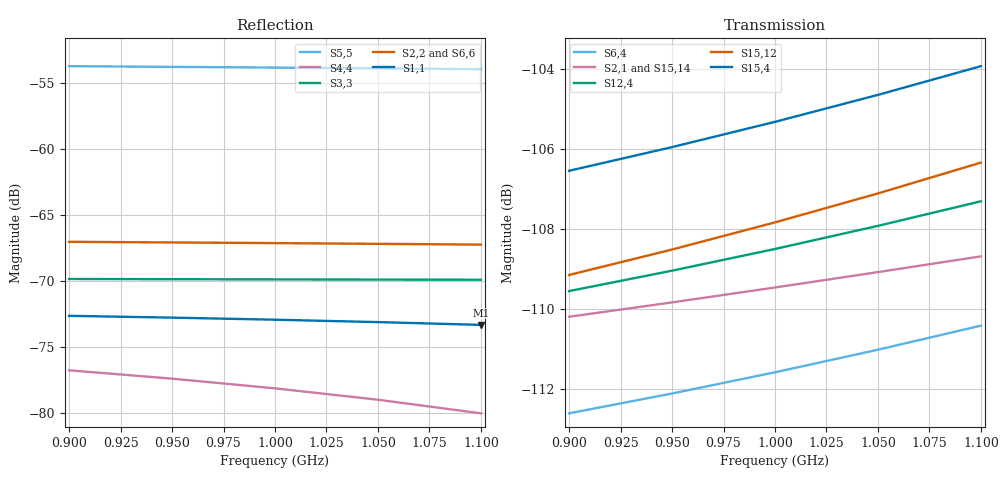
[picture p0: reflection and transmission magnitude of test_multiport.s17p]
! Touchstone file exported from HFSS 2020.2.0
!  Generated:  11:07:14  avr. 27, 2020
!  Design:  test
!  Project:  test_multiport
!  Setup:  Setup1
!  Solution:  Sweep
!Data is not renormalized
# GHZ S MA
! Terminal data exported
! Port[1] = 1
! Port[2] = 2
! Port[3] = 3
! Port[4] = 4
! Port[5] = 5
! Port[6] = 6
! Port[7] = 7
! Port[8] = 8
! Port[9] = 9
! Port[10] = 10
! Port[11] = 11
! Port[12] = 12
! Port[13] = 13
! Port[14] = 14
! Port[15] = 15
! Port[16] = 16
! Port[17] = 17
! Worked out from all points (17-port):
!   5 points, 900 MHz to 1.1 GHz, reference per port
!   strongest paths, dB at 900 MHz, 950 MHz, 1 GHz, 1.05 GHz, 1.1 GHz:
!     S15,4: -106.5, -106.0, -105.3, -104.7, -103.9
!     S15,12: -109.1, -108.5, -107.8, -107.1, -106.3
!     S12,4: -109.5, -109.0, -108.5, -107.9, -107.3
!     S2,1: -110.2, -109.8, -109.5, -109.1, -108.7
!     S15,14: -110.2, -109.9, -109.5, -109.1, -108.8
!     S6,4: -112.6, -112.1, -111.6, -111.0, -110.4
!   lowest |S11| = -73.3 dB at 1.1 GHz (marker M1), VSWR 1.00
!   |S11| at or under -10 dB: start of sweep to end of sweep
